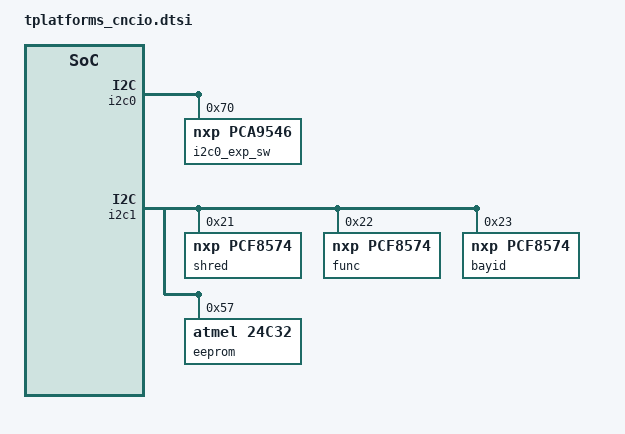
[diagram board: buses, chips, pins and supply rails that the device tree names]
/*
 * Baikal-T/T1 CNC IO board device tree
 *
 * Copyright (C) 2018 T-platforms JSC
 *
 * This program is free software; you can redistribute it and/or
 * modify it under the terms of the GNU General Public License
 * as published by the Free Software Foundation; either version 2
 * of the License, or (at your option) any later version.
 */

/ {
	/* Reserve memory regions for CMA and NTB */
	reserved-memory {
		#address-cells = <1>;
		#size-cells = <1>;
		ranges;

		/* Reserve 3MB for various CMA-based things (ntb_tool, etc) */
		cma_reserved {
			compatible = "shared-dma-pool";
			size = <0x300000>;
			reusable;
			linux,cma-default;
		};
	};

	/*
	 * Pseudo-device with watchdog timer GPIO-pins declaration. It will be
	 * used in CNC NTB driver to notify CU of possible peripheral board
	 * hang ups.
	 */
	cnc_wd_gpio {
		wd_setup-gpios = <&porta 2  GPIO_ACTIVE_HIGH>, /* wd_set pin */
				 <&porta 27 GPIO_ACTIVE_HIGH>; /* wd_in  pin */
	};

	/*
	 * Pseudo-device with descrete in GPIO-expanders IRQ lines declaration.
	 * They are used by CNC IN driver logic to notify CU of various
	 * external events.
	 */
	cnc_in_gpio {
		cnc_in_brd0-gpios = <&porta 31 GPIO_ACTIVE_HIGH>, /* Local expander #0 */
				    <&porta 29 GPIO_ACTIVE_HIGH>; /* Local expander #1 */
		cnc_in_brd1-gpios = <&porta 23 GPIO_ACTIVE_HIGH>, /* External expander #0 */
				    <&porta 21 GPIO_ACTIVE_HIGH>; /* External expander #1 */
		cnc_in_brd2-gpios = <&porta 15 GPIO_ACTIVE_HIGH>, /* External expander #0 */
				    <&porta 13 GPIO_ACTIVE_HIGH>; /* External expander #1 */
		cnc_in_probe-gpios = <&porta 28 GPIO_ACTIVE_HIGH>, /* Probe input #24 */
				     <&porta 24 GPIO_ACTIVE_HIGH>, /* Probe input #25 */
				     <&porta 8  GPIO_ACTIVE_HIGH>, /* Probe input #26 */
				     <&porta 20 GPIO_ACTIVE_HIGH>, /* Probe input #27 */
				     <&porta 19 GPIO_ACTIVE_HIGH>, /* Probe input #28 */
				     <&porta 17 GPIO_ACTIVE_HIGH>, /* Probe input #29 */
				     <&porta 10 GPIO_ACTIVE_HIGH>, /* Probe input #30 */
				     <&porta 18 GPIO_ACTIVE_HIGH>; /* Probe input #31 */
	};
};

&usb {
	status = "disabled";
};

&sata {
	status = "disabled";
};

&mdio0 {
	status = "disabled";
};

&xgmac {
	status = "disabled";
};

&gmac0 {
	status = "disabled";
};

&gmac1 {
	status = "disabled";
};

/*
 * Relay/DescreteIn GPIO-expanders are placed right on i2c0 for early
 * developed boards and under i2c0 subbuses for rev.3 and newer.
 */
&i2c0 {
	status = "okay";

	/* Switch is available on rev.3 boards only */
	i2c0_exp_sw@70 {
		compatible = "nxp,pca9546";
		reg = <0x70>;
		#address-cells = <1>;
		#size-cells = <0>;
		idle-state = <3>; /* Unused channel is connected on idle */

		/* Bus #2 with local GPIO-expanders */
		local_exp_smb: i2c0_exp@0 {
			reg = <0>;
			#address-cells = <1>;
			#size-cells = <0>;
		};

		/* Bus #3 with external GPIO-expanders */
		ext0_exp_smb: i2c0_exp@1 {
			reg = <1>;
			#address-cells = <1>;
			#size-cells = <0>;
		};

		/* Bus #4 with external GPIO-expanders */
		ext1_exp_smb: i2c0_exp@2 {
			reg = <2>;
			#address-cells = <1>;
			#size-cells = <0>;
		};
	};
};

/* Board settings devices */
&i2c1 {
	status = "okay";

	shred@21 {
		compatible = "nxp,pcf8574";
		reg = <0x21>;
		gpio-controller;
		#gpio-cells = <2>;
		ngpios = <8>; /* Informative */
	};

	func@22 {
		compatible = "nxp,pcf8574";
		reg = <0x22>;
		gpio-controller;
		#gpio-cells = <2>;
		ngpios = <8>; /* Informative */
	};

	bayid@23 {
		compatible = "nxp,pcf8574";
		reg = <0x23>;
		gpio-controller;
		#gpio-cells = <2>;
		ngpios = <8>; /* Informative */
	};

        eeprom@57 {
                compatible = "atmel,24c32";
                reg = <0x57>;
                pagesize = <16>;
        };
};

&uart1 {
	status = "disabled";
};

&spi0 {
	status = "disabled";
};

&spi1 {
	status = "disabled";
};
